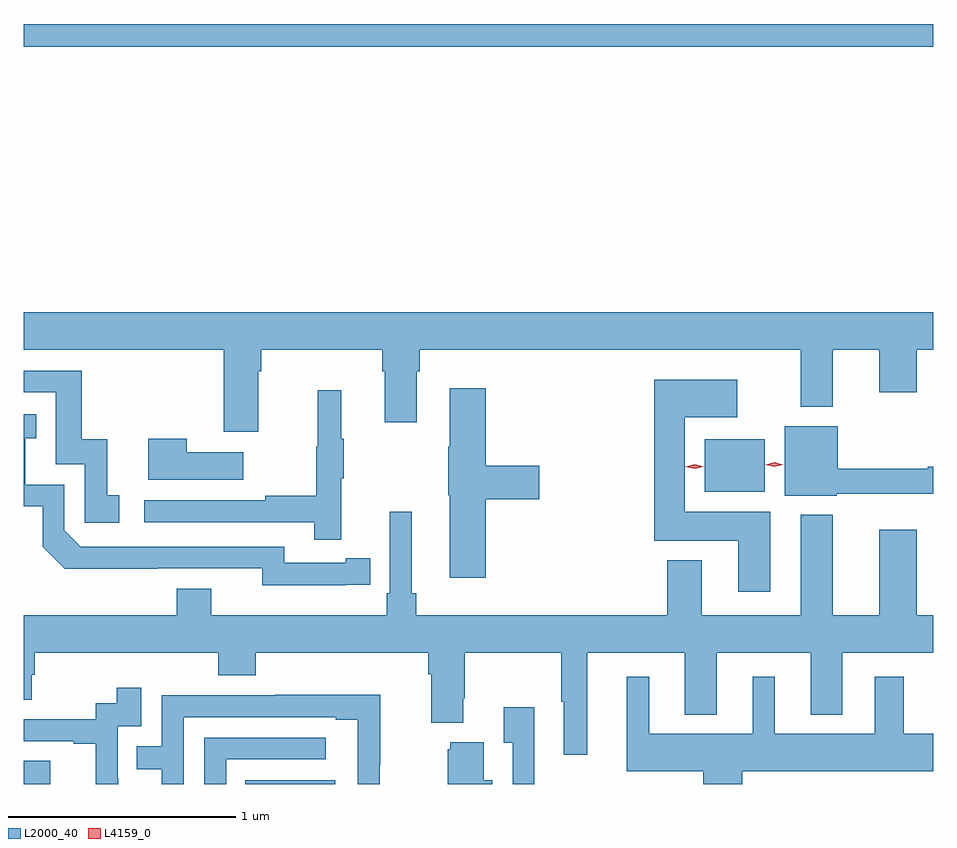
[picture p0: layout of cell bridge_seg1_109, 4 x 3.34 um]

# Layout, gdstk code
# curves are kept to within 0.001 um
import gdstk
lib = gdstk.Library(unit=1e-6, precision=1e-09)
def R(c, l, rs):  # rectangles x0, y0, x1, y1
    for r in rs: c.add(gdstk.rectangle(r[:2], r[2:], *l))
def P(c, l, *ps):  # polygons
    for p in ps: c.add(gdstk.Polygon(p, *l))
L2000_40 = (2000, 40)
L4159_0 = (4159, 0)

bridge_seg1_109 = lib.new_cell('bridge_seg1_109')
R(bridge_seg1_109, L2000_40, [(353.053,580.458,353.17,580.561), (354.028,580.458,354.424,580.474), (356.048,581.744,356.311,581.974), (353.053,583.7,357.053,583.8)])
P(bridge_seg1_109, L2000_40, [(354.085,582.272),(354.098,582.272),(354.098,582.368),(354.629,582.368),(354.629,582.272),(354.641,582.272),(354.641,582.048),(354.781,582.048),(354.781,582.272),(354.794,582.272),(354.794,582.368),(356.471,582.368),(356.471,582.116),(356.611,582.116),(356.611,582.368),(356.816,582.368),(356.816,582.18),(356.98,582.18),(356.98,582.368),(357.053,582.368),(357.053,582.532),(353.053,582.532),(353.053,582.368),(353.933,582.368),(353.933,582.006),(354.085,582.006)],
  [(353.473,581.727),(353.42,581.727),(353.42,581.974),(353.309,581.974),(353.309,582.276),(353.053,582.276),(353.053,582.18),(353.193,582.18),(353.193,581.865),(353.322,581.865),(353.322,581.607),(353.473,581.607)],
  [(356.335,581.656),(355.96,581.656),(355.96,582.071),(356.191,582.071),(356.191,582.235),(355.826,582.235),(355.826,581.528),(356.195,581.528),(356.195,581.304),(356.335,581.304)],
  [(355.085,581.711),(355.321,581.711),(355.321,581.858),(355.085,581.858),(355.085,582.199),(354.926,582.199),(354.926,581.941),(354.919,581.941),(354.919,581.727),(354.926,581.727),(354.926,581.364),(355.085,581.364)],
  [(354.449,581.803),(354.46,581.803),(354.46,581.977),(354.449,581.977),(354.449,582.19),(354.346,582.19),(354.346,581.94),(354.339,581.94),(354.339,581.726),(354.115,581.726),(354.115,581.706),(353.583,581.706),(353.583,581.61),(354.331,581.61),(354.331,581.532),(354.449,581.532)],
  [(354.47,581.334),(354.578,581.334),(354.578,581.45),(354.47,581.45),(354.47,581.43),(354.198,581.43),(354.198,581.502),(353.304,581.502),(353.232,581.574),(353.232,581.775),(353.059,581.775),(353.059,581.979),(353.108,581.979),(353.108,582.085),(353.053,582.085),(353.053,581.679),(353.136,581.679),(353.136,581.502),(353.234,581.405),(354.102,581.406),(354.102,581.333)],
  [(356.628,581.735),(357.053,581.735),(357.053,581.852),(357.028,581.852),(357.028,581.845),(356.632,581.845),(356.632,582.031),(356.399,582.031),(356.399,581.726),(356.628,581.726)],
  [(354.019,581.917),(353.771,581.917),(353.771,581.977),(353.6,581.977),(353.6,581.795),(354.019,581.795)],
  [(354.779,581.296),(354.76,581.296),(354.76,581.656),(354.663,581.656),(354.663,581.296),(354.65,581.296),(354.65,581.2),(353.878,581.2),(353.878,581.317),(353.726,581.317),(353.726,581.2),(353.053,581.2),(353.053,580.828),(353.089,580.828),(353.089,580.938),(353.102,580.938),(353.102,581.036),(353.909,581.036),(353.909,580.937),(354.074,580.937),(354.074,581.036),(354.833,581.036),(354.833,580.94),(354.845,580.94),(354.845,580.727),(354.985,580.727),(354.985,580.834),(354.993,580.834),(354.993,581.036),(355.417,581.036),(355.417,580.82),(355.427,580.82),(355.427,580.587),(355.531,580.587),(355.531,581.036),(355.961,581.036),(355.961,580.763),(356.101,580.763),(356.101,581.036),(356.513,581.036),(356.513,580.763),(356.653,580.763),(356.653,581.036),(357.053,581.036),(357.053,581.2),(356.98,581.2),(356.98,581.575),(356.816,581.575),(356.816,581.2),(356.611,581.2),(356.611,581.641),(356.471,581.641),(356.471,581.2),(356.035,581.2),(356.035,581.443),(355.883,581.443),(355.883,581.2),(354.779,581.2)],
  [(356.213,580.514),(357.053,580.514),(357.053,580.678),(356.923,580.678),(356.923,580.93),(356.795,580.93),(356.795,580.678),(356.356,580.678),(356.356,580.93),(356.258,580.93),(356.258,580.678),(355.804,580.678),(355.804,580.93),(355.706,580.93),(355.706,580.514),(356.042,580.514),(356.042,580.458),(356.213,580.458)],
  [(353.468,580.484),(353.466,580.484),(353.466,580.713),(353.571,580.713),(353.571,580.882),(353.463,580.882),(353.463,580.812),(353.37,580.812),(353.37,580.743),(353.053,580.743),(353.053,580.647),(353.273,580.647),(353.273,580.635),(353.369,580.635),(353.369,580.458),(353.468,580.458)],
  [(353.757,580.752),(354.425,580.752),(354.425,580.74),(354.521,580.74),(354.521,580.546),(354.522,580.546),(354.522,580.458),(354.618,580.458),(354.618,580.543),(354.621,580.543),(354.621,580.85),(354.157,580.85),(354.157,580.848),(353.661,580.848),(353.661,580.623),(353.551,580.623),(353.551,580.522),(353.661,580.522),(353.661,580.458),(353.757,580.458)],
  [(355.299,580.795),(355.163,580.795),(355.163,580.639),(355.203,580.639),(355.203,580.458),(355.299,580.458)],
  [(353.943,580.566),(354.382,580.566),(354.382,580.662),(353.847,580.662),(353.847,580.458),(353.943,580.458)],
  [(355.114,580.474),(355.075,580.474),(355.075,580.642),(354.929,580.642),(354.929,580.611),(354.917,580.611),(354.917,580.458),(355.114,580.458)])
P(bridge_seg1_109, L4159_0, [(356.354,581.852),(356.316,581.861),(356.316,581.862),(356.316,581.862),(356.354,581.872),(356.393,581.862),(356.393,581.862),(356.393,581.861)],
  [(356.004,581.844),(355.963,581.854),(355.963,581.854),(355.963,581.854),(356.004,581.864),(356.044,581.854),(356.044,581.854),(356.044,581.854)])

lib.write_gds('bridge_seg1_109.gds')
